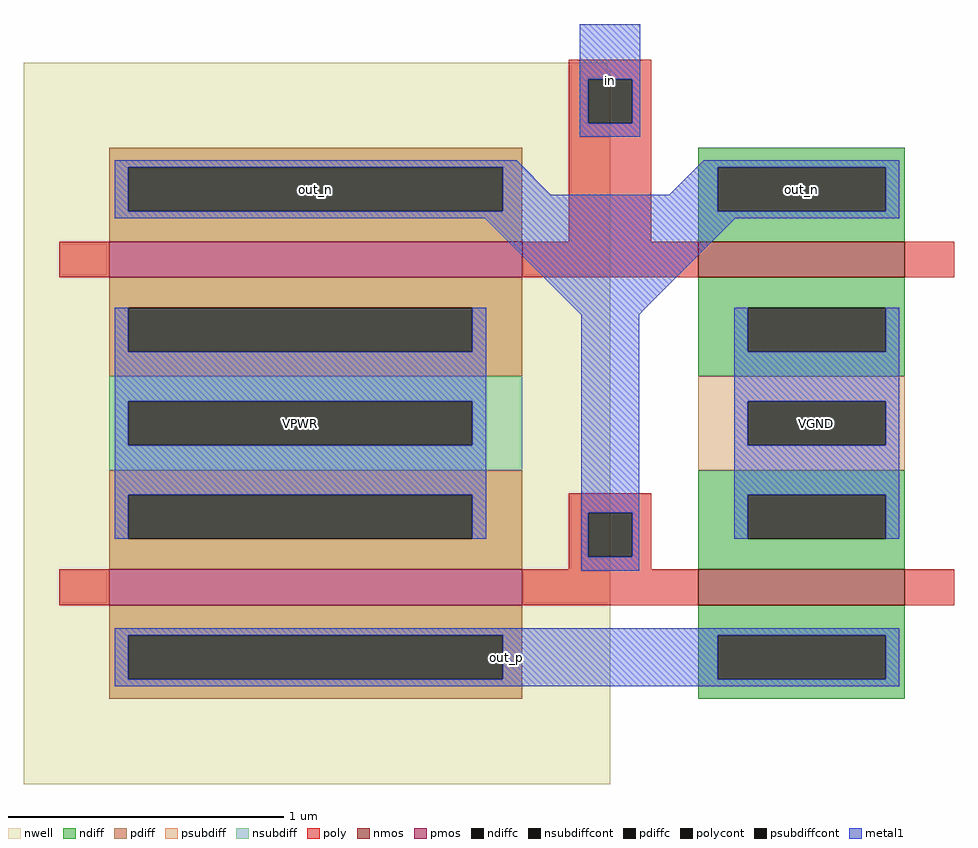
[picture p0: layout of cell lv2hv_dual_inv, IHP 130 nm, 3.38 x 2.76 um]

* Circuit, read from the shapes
.subckt lv2hv_dual_inv VGND VPWR in out_n out_p
XM1 VGND out_n out_p VGND sg13_lv_nmos w=0.75u l=0.13u
XM2 out_n in VGND VGND sg13_lv_nmos w=0.75u l=0.13u
XM3 VPWR out_n out_p VPWR sg13_lv_pmos w=1.5u l=0.13u
XM4 out_n in VPWR VPWR sg13_lv_pmos w=1.5u l=0.13u
.ends

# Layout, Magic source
magic
tech ihp-sg13cmos5l
magscale 1 2
<< nwell >>
rect 0 518 424 524
rect 0 0 426 518
<< nmos >>
rect 490 368 640 394
rect 490 130 640 156
<< pmos >>
rect 62 368 362 394
rect 62 130 362 156
<< ndiff >>
rect 490 448 640 462
rect 490 416 504 448
rect 626 416 640 448
rect 490 394 640 416
rect 490 346 640 368
rect 490 314 526 346
rect 626 314 640 346
rect 490 296 640 314
rect 490 210 640 228
rect 490 178 526 210
rect 626 178 640 210
rect 490 156 640 178
rect 490 108 640 130
rect 490 76 504 108
rect 626 76 640 108
rect 490 62 640 76
<< pdiff >>
rect 62 448 362 462
rect 62 416 76 448
rect 348 416 362 448
rect 62 394 362 416
rect 62 346 362 368
rect 62 314 76 346
rect 326 314 362 346
rect 62 296 362 314
rect 62 210 362 228
rect 62 178 76 210
rect 326 178 362 210
rect 62 156 362 178
rect 62 108 362 130
rect 62 76 76 108
rect 348 76 362 108
rect 62 62 362 76
<< ndiffc >>
rect 504 416 626 448
rect 526 314 626 346
rect 526 178 626 210
rect 504 76 626 108
<< pdiffc >>
rect 76 416 348 448
rect 76 314 326 346
rect 76 178 326 210
rect 76 76 348 108
<< psubdiff >>
rect 490 278 640 296
rect 490 246 526 278
rect 626 246 640 278
rect 490 228 640 246
<< nsubdiff >>
rect 62 278 362 296
rect 62 246 76 278
rect 326 246 362 278
rect 62 228 362 246
<< psubdiffcont >>
rect 526 246 626 278
<< nsubdiffcont >>
rect 76 246 326 278
<< poly >>
rect 396 512 456 526
rect 396 480 410 512
rect 442 480 456 512
rect 396 394 456 480
rect 26 368 62 394
rect 362 368 490 394
rect 640 368 676 394
rect 396 197 456 211
rect 396 165 410 197
rect 442 165 456 197
rect 396 156 456 165
rect 26 130 62 156
rect 362 130 490 156
rect 640 130 676 156
<< polycont >>
rect 410 480 442 512
rect 410 165 442 197
<< metal1 >>
rect 404 512 448 552
rect 404 480 410 512
rect 442 480 448 512
rect 404 470 448 480
rect 66 448 358 453
rect 66 416 76 448
rect 348 428 358 448
tri 358 428 383 453 sw
tri 469 428 494 453 se
rect 494 448 636 453
rect 494 428 504 448
rect 348 416 504 428
rect 626 416 636 448
rect 66 411 636 416
tri 335 346 400 411 ne
rect 400 346 452 411
tri 452 346 517 411 nw
rect 66 314 76 346
rect 326 314 336 346
tri 400 341 405 346 ne
rect 66 278 336 314
rect 66 246 76 278
rect 326 246 336 278
rect 66 210 336 246
rect 66 178 76 210
rect 326 178 336 210
rect 405 197 447 346
tri 447 341 452 346 nw
rect 405 165 410 197
rect 442 165 447 197
rect 516 314 526 346
rect 626 314 636 346
rect 516 278 636 314
rect 516 246 526 278
rect 626 246 636 278
rect 516 210 636 246
rect 516 178 526 210
rect 626 178 636 210
rect 405 155 447 165
rect 66 108 636 113
rect 66 76 76 108
rect 348 76 504 108
rect 626 76 636 108
rect 66 71 636 76
<< labels >>
flabel metal1 s 516 178 636 346 0 FreeSans 400 0 0 0 VGND
port 0 nsew ground input
flabel metal1 s 66 178 336 346 0 FreeSans 400 0 0 0 VPWR
port 1 nsew power input
flabel metal1 s 404 470 448 552 0 FreeSans 160 0 0 0 in
port 2 nsew signal input
flabel metal1 s 66 411 358 453 0 FreeSans 160 0 0 0 out_n
port 3 nsew signal output
flabel metal1 s 494 411 636 453 0 FreeSans 160 0 0 0 out_n
port 3 nsew signal output
flabel metal1 s 66 71 636 113 0 FreeSans 160 0 0 0 out_p
port 4 nsew signal output
<< properties >>
string FIXED_BBOX 0 0 702 552
string MASKHINTS_PSD -6 70 26 454 398 296 430 454 398 228 484 296 398 70 430 228
<< end >>
